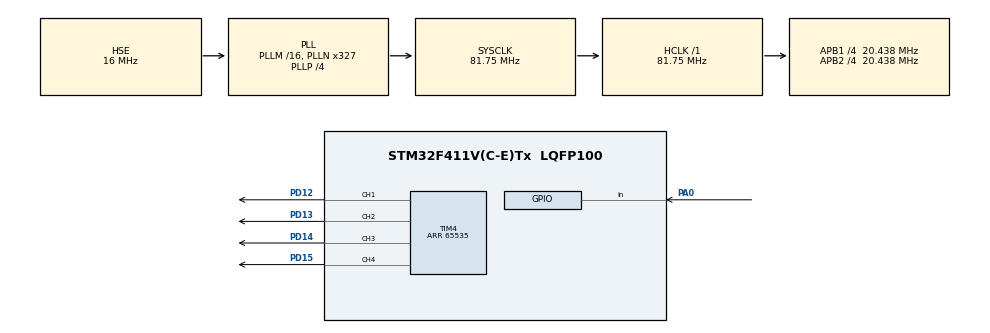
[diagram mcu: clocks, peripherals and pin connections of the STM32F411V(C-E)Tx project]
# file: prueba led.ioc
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Mcu.Family=STM32F4
Mcu.Name=STM32F411V(C-E)Tx
Mcu.Package=LQFP100
NVIC.PriorityGroup=NVIC_PRIORITYGROUP_4
PA0-WKUP.Signal=GPIO_Input
PA13.Mode=Serial_Wire
PA13.Signal=SYS_JTMS-SWDIO
PA14.Mode=Serial_Wire
PA14.Signal=SYS_JTCK-SWCLK
PD12.Signal=S_TIM4_CH1
PD13.Signal=S_TIM4_CH2
PD14.Signal=S_TIM4_CH3
PD15.Signal=S_TIM4_CH4
PH0\ -\ OSC_IN.Mode=HSE-External-Oscillator
PH0\ -\ OSC_IN.Signal=RCC_OSC_IN
PH1\ -\ OSC_OUT.Mode=HSE-External-Oscillator
PH1\ -\ OSC_OUT.Signal=RCC_OSC_OUT
ProjectManager.HeapSize=0x200
ProjectManager.StackSize=0x400
ProjectManager.TargetToolchain=MDK-ARM V5
RCC.48MHZClocksFreq_Value=81750000
RCC.AHBFreq_Value=81750000
RCC.APB1CLKDivider=RCC_HCLK_DIV4
RCC.APB1Freq_Value=20437500
RCC.APB1TimFreq_Value=40875000
RCC.APB2CLKDivider=RCC_HCLK_DIV4
RCC.APB2Freq_Value=20437500
RCC.APB2TimFreq_Value=40875000
RCC.CortexFreq_Value=81750000
RCC.HCLKFreq_Value=81750000
RCC.HSE_VALUE=16000000
RCC.HSI_VALUE=16000000
RCC.PLLN=327
RCC.PLLP=RCC_PLLP_DIV4
RCC.PLLSourceVirtual=RCC_PLLSOURCE_HSE
RCC.SYSCLKFreq_VALUE=81750000
RCC.SYSCLKSource=RCC_SYSCLKSOURCE_PLLCLK
RCC.VCOOutputFreq_Value=327000000
SH.S_TIM4_CH1.0=TIM4_CH1,PWM Generation1 CH1
SH.S_TIM4_CH2.0=TIM4_CH2,PWM Generation2 CH2
SH.S_TIM4_CH3.0=TIM4_CH3,PWM Generation3 CH3
SH.S_TIM4_CH4.0=TIM4_CH4,PWM Generation4 CH4
TIM4.Channel-PWM\ Generation1\ CH1=TIM_CHANNEL_1
TIM4.Channel-PWM\ Generation2\ CH2=TIM_CHANNEL_2
TIM4.Channel-PWM\ Generation3\ CH3=TIM_CHANNEL_3
TIM4.Channel-PWM\ Generation4\ CH4=TIM_CHANNEL_4
TIM4.Period=65535
VP_TIM4_VS_ClockSourceINT.Mode=Internal
board=custom

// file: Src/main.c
/**
  ******************************************************************************
  * @file           : main.c
  * @brief          : Main program body
  ******************************************************************************
  ** This notice applies to any and all portions of this file
  * that are not between comment pairs USER CODE BEGIN and
  * USER CODE END. Other portions of this file, whether
  * inserted by the user or by software development tools
  * are owned by their respective copyright owners.
  *
  * COPYRIGHT(c) 2018 STMicroelectronics
  *
  * Redistribution and use in source and binary forms, with or without modification,
  * are permitted provided that the following conditions are met:
  *   1. Redistributions of source code must retain the above copyright notice,
  *      this list of conditions and the following disclaimer.
  *   2. Redistributions in binary form must reproduce the above copyright notice,
  *      this list of conditions and the following disclaimer in the documentation
  *      and/or other materials provided with the distribution.
  *   3. Neither the name of STMicroelectronics nor the names of its contributors
  *      may be used to endorse or promote products derived from this software
  *      without specific prior written permission.
  *
  * THIS SOFTWARE IS PROVIDED BY THE COPYRIGHT HOLDERS AND CONTRIBUTORS "AS IS"
  * AND ANY EXPRESS OR IMPLIED WARRANTIES, INCLUDING, BUT NOT LIMITED TO, THE
  * IMPLIED WARRANTIES OF MERCHANTABILITY AND FITNESS FOR A PARTICULAR PURPOSE ARE
  * DISCLAIMED. IN NO EVENT SHALL THE COPYRIGHT HOLDER OR CONTRIBUTORS BE LIABLE
  * FOR ANY DIRECT, INDIRECT, INCIDENTAL, SPECIAL, EXEMPLARY, OR CONSEQUENTIAL
  * DAMAGES (INCLUDING, BUT NOT LIMITED TO, PROCUREMENT OF SUBSTITUTE GOODS OR
  * SERVICES; LOSS OF USE, DATA, OR PROFITS; OR BUSINESS INTERRUPTION) HOWEVER
  * CAUSED AND ON ANY THEORY OF LIABILITY, WHETHER IN CONTRACT, STRICT LIABILITY,
  * OR TORT (INCLUDING NEGLIGENCE OR OTHERWISE) ARISING IN ANY WAY OUT OF THE USE
  * OF THIS SOFTWARE, EVEN IF ADVISED OF THE POSSIBILITY OF SUCH DAMAGE.
  *
  ******************************************************************************
  */
#include "main.h"
#include "stm32f4xx_hal.h"

TIM_HandleTypeDef htim4;

/* USER CODE BEGIN PV */
/* Private variables ---------------------------------------------------------*/

/* USER CODE END PV */

void SystemClock_Config(void);
static void MX_GPIO_Init(void);
static void MX_TIM4_Init(void);
void HAL_TIM_MspPostInit(TIM_HandleTypeDef *htim);

int PWM=0;
int a=1;
/* USER CODE BEGIN PFP */
/* Private function prototypes -----------------------------------------------*/

/* USER CODE END PFP */

int main(void)
{

  /* MCU Configuration----------------------------------------------------------*/

  /* Reset of all peripherals, Initializes the Flash interface and the Systick. */
  HAL_Init();

  /* Configure the system clock */
  SystemClock_Config();

  /* Initialize all configured peripherals */
  MX_GPIO_Init();
  MX_TIM4_Init();
  /* USER CODE BEGIN 2 */
HAL_TIM_PWM_Start(&htim4, TIM_CHANNEL_2);//Inicializamos los canales
HAL_TIM_PWM_Start(&htim4, TIM_CHANNEL_3);
HAL_TIM_PWM_Start(&htim4, TIM_CHANNEL_4);
HAL_TIM_PWM_Start(&htim4, TIM_CHANNEL_1);

TIM4->CCR1=50000;
TIM4->CCR2=30000;
TIM4->CCR3=20000;

  /* USER CODE END 2 */

  /* Infinite loop */
  /* USER CODE BEGIN WHILE */
  while (1)
  {
		HAL_Delay(1);
		TIM4->CCR4=PWM;

	if (PWM>65000)
		a=0;
	if (PWM==0)
	  a=1;

	if(a==1)
		PWM=PWM+100;
	if(a==0)
	PWM=PWM-100;

  /* USER CODE END WHILE */

  }

}

void SystemClock_Config(void)
{

  RCC_OscInitTypeDef RCC_OscInitStruct;
  RCC_ClkInitTypeDef RCC_ClkInitStruct;

    /**Configure the main internal regulator output voltage
    */
  __HAL_RCC_PWR_CLK_ENABLE();

  __HAL_PWR_VOLTAGESCALING_CONFIG(PWR_REGULATOR_VOLTAGE_SCALE1);

    /**Initializes the CPU, AHB and APB busses clocks
    */
  RCC_OscInitStruct.OscillatorType = RCC_OSCILLATORTYPE_HSE;
  RCC_OscInitStruct.HSEState = RCC_HSE_ON;
  RCC_OscInitStruct.PLL.PLLState = RCC_PLL_ON;
  RCC_OscInitStruct.PLL.PLLSource = RCC_PLLSOURCE_HSE;
  RCC_OscInitStruct.PLL.PLLM = 16;
  RCC_OscInitStruct.PLL.PLLN = 327;
  RCC_OscInitStruct.PLL.PLLP = RCC_PLLP_DIV4;
  RCC_OscInitStruct.PLL.PLLQ = 4;
  if (HAL_RCC_OscConfig(&RCC_OscInitStruct) != HAL_OK)
  {
    _Error_Handler(__FILE__, __LINE__);
  }

    /**Initializes the CPU, AHB and APB busses clocks
    */
  RCC_ClkInitStruct.ClockType = RCC_CLOCKTYPE_HCLK|RCC_CLOCKTYPE_SYSCLK
                              |RCC_CLOCKTYPE_PCLK1|RCC_CLOCKTYPE_PCLK2;
  RCC_ClkInitStruct.SYSCLKSource = RCC_SYSCLKSOURCE_PLLCLK;
  RCC_ClkInitStruct.AHBCLKDivider = RCC_SYSCLK_DIV1;
  RCC_ClkInitStruct.APB1CLKDivider = RCC_HCLK_DIV4;
  RCC_ClkInitStruct.APB2CLKDivider = RCC_HCLK_DIV4;

  if (HAL_RCC_ClockConfig(&RCC_ClkInitStruct, FLASH_LATENCY_2) != HAL_OK)
  {
    _Error_Handler(__FILE__, __LINE__);
  }

    /**Configure the Systick interrupt time
    */
  HAL_SYSTICK_Config(HAL_RCC_GetHCLKFreq()/1000);

    /**Configure the Systick
    */
  HAL_SYSTICK_CLKSourceConfig(SYSTICK_CLKSOURCE_HCLK);

  /* SysTick_IRQn interrupt configuration */
  HAL_NVIC_SetPriority(SysTick_IRQn, 0, 0);
}

/* TIM4 init function */
static void MX_TIM4_Init(void)
{

  TIM_ClockConfigTypeDef sClockSourceConfig;
  TIM_MasterConfigTypeDef sMasterConfig;
  TIM_OC_InitTypeDef sConfigOC;

  htim4.Instance = TIM4;
  htim4.Init.Prescaler = 0;
  htim4.Init.CounterMode = TIM_COUNTERMODE_UP;
  htim4.Init.Period = 65535;
  htim4.Init.ClockDivision = TIM_CLOCKDIVISION_DIV1;
  if (HAL_TIM_Base_Init(&htim4) != HAL_OK)
  {
    _Error_Handler(__FILE__, __LINE__);
  }

  sClockSourceConfig.ClockSource = TIM_CLOCKSOURCE_INTERNAL;
  if (HAL_TIM_ConfigClockSource(&htim4, &sClockSourceConfig) != HAL_OK)
  {
    _Error_Handler(__FILE__, __LINE__);
  }

  if (HAL_TIM_PWM_Init(&htim4) != HAL_OK)
  {
    _Error_Handler(__FILE__, __LINE__);
  }

  sMasterConfig.MasterOutputTrigger = TIM_TRGO_RESET;
  sMasterConfig.MasterSlaveMode = TIM_MASTERSLAVEMODE_DISABLE;
  if (HAL_TIMEx_MasterConfigSynchronization(&htim4, &sMasterConfig) != HAL_OK)
  {
    _Error_Handler(__FILE__, __LINE__);
  }

  sConfigOC.OCMode = TIM_OCMODE_PWM1;
  sConfigOC.Pulse = 0;
  sConfigOC.OCPolarity = TIM_OCPOLARITY_HIGH;
  sConfigOC.OCFastMode = TIM_OCFAST_DISABLE;
  if (HAL_TIM_PWM_ConfigChannel(&htim4, &sConfigOC, TIM_CHANNEL_1) != HAL_OK)
  {
    _Error_Handler(__FILE__, __LINE__);
  }

  if (HAL_TIM_PWM_ConfigChannel(&htim4, &sConfigOC, TIM_CHANNEL_2) != HAL_OK)
  {
    _Error_Handler(__FILE__, __LINE__);
  }

  if (HAL_TIM_PWM_ConfigChannel(&htim4, &sConfigOC, TIM_CHANNEL_3) != HAL_OK)
  {
    _Error_Handler(__FILE__, __LINE__);
  }

  if (HAL_TIM_PWM_ConfigChannel(&htim4, &sConfigOC, TIM_CHANNEL_4) != HAL_OK)
  {
    _Error_Handler(__FILE__, __LINE__);
  }

  HAL_TIM_MspPostInit(&htim4);

}

/** Configure pins as
        * Analog
        * Input
        * Output
        * EVENT_OUT
        * EXTI
*/
static void MX_GPIO_Init(void)
{

  GPIO_InitTypeDef GPIO_InitStruct;

  /* GPIO Ports Clock Enable */
  __HAL_RCC_GPIOH_CLK_ENABLE();
  __HAL_RCC_GPIOA_CLK_ENABLE();
  __HAL_RCC_GPIOD_CLK_ENABLE();

  /*Configure GPIO pin : PA0 */
  GPIO_InitStruct.Pin = GPIO_PIN_0;
  GPIO_InitStruct.Mode = GPIO_MODE_INPUT;
  GPIO_InitStruct.Pull = GPIO_NOPULL;
  HAL_GPIO_Init(GPIOA, &GPIO_InitStruct);

}

void _Error_Handler(char *file, int line)
{
  while(1)
  {
  }
}

/************************ (C) COPYRIGHT STMicroelectronics *****END OF FILE****/
